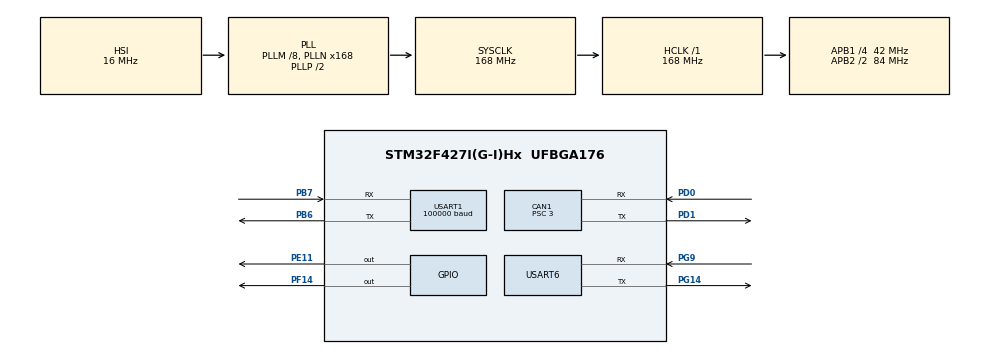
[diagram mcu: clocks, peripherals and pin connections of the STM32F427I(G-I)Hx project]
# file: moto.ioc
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CAN1.BS1=CAN_BS1_10TQ
CAN1.BS2=CAN_BS2_3TQ
CAN1.CalculateBaudRate=1000000
CAN1.CalculateTimeBit=1000
CAN1.CalculateTimeQuantum=71.42857142857143
CAN1.Prescaler=3
Dma.Request0=USART1_RX
Dma.Request1=USART6_TX
Dma.USART1_RX.0.Direction=DMA_PERIPH_TO_MEMORY
Dma.USART1_RX.0.FIFOMode=DMA_FIFOMODE_DISABLE
Dma.USART1_RX.0.Instance=DMA2_Stream5
Dma.USART1_RX.0.MemDataAlignment=DMA_MDATAALIGN_BYTE
Dma.USART1_RX.0.MemInc=DMA_MINC_ENABLE
Dma.USART1_RX.0.Mode=DMA_CIRCULAR
Dma.USART1_RX.0.PeriphDataAlignment=DMA_PDATAALIGN_BYTE
Dma.USART1_RX.0.PeriphInc=DMA_PINC_DISABLE
Dma.USART1_RX.0.Priority=DMA_PRIORITY_VERY_HIGH
Dma.USART6_TX.1.Direction=DMA_MEMORY_TO_PERIPH
Dma.USART6_TX.1.FIFOMode=DMA_FIFOMODE_DISABLE
Dma.USART6_TX.1.Instance=DMA2_Stream6
Dma.USART6_TX.1.MemDataAlignment=DMA_MDATAALIGN_BYTE
Dma.USART6_TX.1.MemInc=DMA_MINC_ENABLE
Dma.USART6_TX.1.Mode=DMA_NORMAL
Dma.USART6_TX.1.PeriphDataAlignment=DMA_PDATAALIGN_BYTE
Dma.USART6_TX.1.PeriphInc=DMA_PINC_DISABLE
Dma.USART6_TX.1.Priority=DMA_PRIORITY_VERY_HIGH
Mcu.Family=STM32F4
Mcu.Name=STM32F427I(G-I)Hx
Mcu.Package=UFBGA176
NVIC.CAN1_RX0_IRQn=true\:0\:0\:false\:false\:true\:true\:true\:true
NVIC.DMA2_Stream5_IRQn=true\:0\:0\:false\:false\:true\:false\:true\:true
NVIC.DMA2_Stream6_IRQn=true\:0\:0\:false\:false\:true\:false\:true\:true
NVIC.PriorityGroup=NVIC_PRIORITYGROUP_4
PB6.Mode=Asynchronous
PB6.Signal=USART1_TX
PB7.Mode=Asynchronous
PB7.Signal=USART1_RX
PD0.Mode=CAN_Activate
PD0.Signal=CAN1_RX
PD1.Mode=CAN_Activate
PD1.Signal=CAN1_TX
PE11.GPIO_PuPd=GPIO_PULLUP
PE11.GPIO_Speed=GPIO_SPEED_FREQ_MEDIUM
PE11.Signal=GPIO_Output
PF14.GPIO_PuPd=GPIO_PULLUP
PF14.GPIO_Speed=GPIO_SPEED_FREQ_MEDIUM
PF14.Signal=GPIO_Output
PG14.Mode=Asynchronous
PG14.Signal=USART6_TX
PG9.Mode=Asynchronous
PG9.Signal=USART6_RX
ProjectManager.HeapSize=0x200
ProjectManager.StackSize=0x400
ProjectManager.TargetToolchain=MDK-ARM V5.27
RCC.48MHZClocksFreq_Value=84000000
RCC.AHBFreq_Value=168000000
RCC.APB1CLKDivider=RCC_HCLK_DIV4
RCC.APB1Freq_Value=42000000
RCC.APB1TimFreq_Value=84000000
RCC.APB2CLKDivider=RCC_HCLK_DIV2
RCC.APB2Freq_Value=84000000
RCC.APB2TimFreq_Value=168000000
RCC.CortexFreq_Value=168000000
RCC.HCLKFreq_Value=168000000
RCC.HSE_VALUE=25000000
RCC.HSI_VALUE=16000000
RCC.LSE_VALUE=32768
RCC.PLLM=8
RCC.PLLN=168
RCC.SYSCLKFreq_VALUE=168000000
RCC.SYSCLKSource=RCC_SYSCLKSOURCE_PLLCLK
RCC.VCOOutputFreq_Value=336000000
USART1.BaudRate=100000
USART1.Parity=PARITY_EVEN
USART1.VirtualMode=VM_ASYNC
USART6.VirtualMode=VM_ASYNC
board=custom

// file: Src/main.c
/* USER CODE BEGIN Header */
/**
  ******************************************************************************
  * @file           : main.c
  * @brief          : Main program body
  ******************************************************************************
  * @attention
  *
  * Copyright (c) 2023 STMicroelectronics.
  * All rights reserved.
  *
  * This software is licensed under terms that can be found in the LICENSE file
  * in the root directory of this software component.
  * If no LICENSE file comes with this software, it is provided AS-IS.
  *
  ******************************************************************************
  */
/* USER CODE END Header */
#include "main.h"
#include "can.h"
#include "dma.h"
#include "usart.h"
#include "gpio.h"

/* USER CODE BEGIN Includes */

#include "pid.h"
/* USER CODE END Includes */

/* USER CODE BEGIN PTD */

#define unit_speed 1000/660.0  //这里改最大速度只需要改前面的1000就可以了

DBUS remoter;
uint8_t dbus_resive[18];
void HAL_UART_RxCpltCallback(UART_HandleTypeDef *UartHandle)
{
    remoter.rc.ch0 = (dbus_resive[0]| (dbus_resive[1] << 8)) & 0x07ff;
    remoter.rc.ch0 -= 1024;
    remoter.rc.ch1 = ((dbus_resive[1] >> 3) | (dbus_resive[2] << 5)) & 0x07ff;
    remoter.rc.ch1 -= 1024;
    remoter.rc.ch2 = ((dbus_resive[2] >> 6) | (dbus_resive[3] << 2) | (dbus_resive[4] << 10)) & 0x07ff;
    remoter.rc.ch2 -= 1024;
    remoter.rc.ch3 = ((dbus_resive[4] >> 1) | (dbus_resive[5] << 7)) & 0x07ff;
    remoter.rc.ch3 -= 1024;
    remoter.rc.s1  = ((dbus_resive[5] >> 4)& 0x000C) >> 2;
    remoter.rc.s2  = ((dbus_resive[5] >> 4)& 0x0003);

    remoter.rc.sw = dbus_resive[16]|(dbus_resive[17]<<8);
}

/* USER CODE END PTD */

/* USER CODE BEGIN PD */

extern motor_measure_t motor_chassis[4];
PidTypeDef motor_pid;
fp32 pid_motor[3]={3.0,0.1,0};        // 这三个参数也是参考了其他大佬的
/* USER CODE END PD */

/* USER CODE BEGIN PV */

void HAL_CAN_RxFifo0MsgPendingCallback(CAN_HandleTypeDef *hcan);
void CAN_cmd_chassis(int16_t M1, int16_t M2, int16_t M3, int16_t M4);
fp32 PID_Calc(PidTypeDef *pid,fp32 ref,fp32 set);

/* USER CODE END PV */

void SystemClock_Config(void);

/* USER CODE BEGIN 0 */
   // uint8_t dbus_resive[18]; //用来储存接收到的数据的数组
/* USER CODE END 0 */

int main(void)
{
  /* USER CODE BEGIN 1 */
	 signed int set_speed;

  /* USER CODE END 1 */

  /* MCU Configuration--------------------------------------------------------*/

  /* Reset of all peripherals, Initializes the Flash interface and the Systick. */
  HAL_Init();

  /* USER CODE BEGIN Init */
//HAL_GPIO_Init();
  /* USER CODE END Init */

  /* Configure the system clock */
  SystemClock_Config();

  /* Initialize all configured peripherals */
  MX_GPIO_Init();
  MX_DMA_Init();
  MX_CAN1_Init();
  MX_USART1_UART_Init();
  MX_USART6_UART_Init();
  /* USER CODE BEGIN 2 */
 HAL_UART_Receive_DMA(&huart1,dbus_resive,18);//初始化DMA
    __HAL_UART_ENABLE_IT(&huart1, UART_IT_IDLE);//中断使能DMA
		 can1_start();
  PID_init(&motor_pid,PID_POSITION,pid_motor,16000,16000);  //PID初始化
  /* USER CODE END 2 */

  /* Infinite loop */
  /* USER CODE BEGIN WHILE */
  while (1)
  {
		 // HAL_GPIO_WritePin(GPIOF, GPIO_PIN_14, GPIO_PIN_RESET);
		 // set_speed = remoter.rc.ch1 * unit_speed;
    		  set_speed = 660 * unit_speed;

		PID_Calc(&motor_pid,motor_chassis[1].speed_rpm,set_speed);
      CAN_cmd_chassis(motor_pid.out,motor_pid.out,motor_pid.out,motor_pid.out);
      HAL_Delay(10);

    /* USER CODE END WHILE */

  }
}

void SystemClock_Config(void)
{
  RCC_OscInitTypeDef RCC_OscInitStruct = {0};
  RCC_ClkInitTypeDef RCC_ClkInitStruct = {0};

  /** Configure the main internal regulator output voltage
  */
  __HAL_RCC_PWR_CLK_ENABLE();
  __HAL_PWR_VOLTAGESCALING_CONFIG(PWR_REGULATOR_VOLTAGE_SCALE1);

  /** Initializes the RCC Oscillators according to the specified parameters
  * in the RCC_OscInitTypeDef structure.
  */
  RCC_OscInitStruct.OscillatorType = RCC_OSCILLATORTYPE_HSI;
  RCC_OscInitStruct.HSIState = RCC_HSI_ON;
  RCC_OscInitStruct.HSICalibrationValue = RCC_HSICALIBRATION_DEFAULT;
  RCC_OscInitStruct.PLL.PLLState = RCC_PLL_ON;
  RCC_OscInitStruct.PLL.PLLSource = RCC_PLLSOURCE_HSI;
  RCC_OscInitStruct.PLL.PLLM = 8;
  RCC_OscInitStruct.PLL.PLLN = 168;
  RCC_OscInitStruct.PLL.PLLP = RCC_PLLP_DIV2;
  RCC_OscInitStruct.PLL.PLLQ = 4;
  if (HAL_RCC_OscConfig(&RCC_OscInitStruct) != HAL_OK)
  {
    Error_Handler();
  }

  /** Initializes the CPU, AHB and APB buses clocks
  */
  RCC_ClkInitStruct.ClockType = RCC_CLOCKTYPE_HCLK|RCC_CLOCKTYPE_SYSCLK
                              |RCC_CLOCKTYPE_PCLK1|RCC_CLOCKTYPE_PCLK2;
  RCC_ClkInitStruct.SYSCLKSource = RCC_SYSCLKSOURCE_PLLCLK;
  RCC_ClkInitStruct.AHBCLKDivider = RCC_SYSCLK_DIV1;
  RCC_ClkInitStruct.APB1CLKDivider = RCC_HCLK_DIV4;
  RCC_ClkInitStruct.APB2CLKDivider = RCC_HCLK_DIV2;

  if (HAL_RCC_ClockConfig(&RCC_ClkInitStruct, FLASH_LATENCY_5) != HAL_OK)
  {
    Error_Handler();
  }
}

void Error_Handler(void)
{
  __disable_irq();
  while (1)
  {
  }
}
